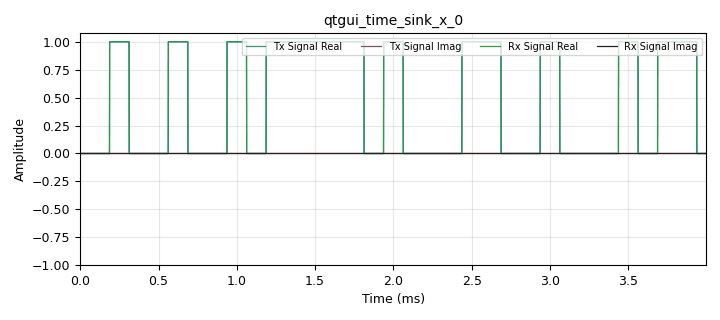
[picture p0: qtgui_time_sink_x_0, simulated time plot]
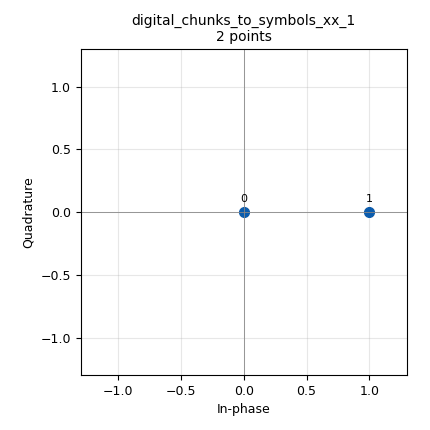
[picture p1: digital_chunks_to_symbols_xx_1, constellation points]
options:
  parameters:
    generate_options: qt_gui
    id: ece157a_mp2_0
    output_language: python
    title: ece157a_mp2
  states: {}

blocks:
- name: delay
  id: variable_qtgui_range
  parameters:
    orient: Qt.Horizontal
    start: '0'
    step: '1'
    stop: sps*32
    value: '0'
  states: {}
- name: freq_offset_tx_khz
  id: variable_qtgui_entry
  parameters:
    type: real
    value: '0'
  states: {}
- name: keep_m_in_n_offset
  id: variable_qtgui_range
  parameters:
    orient: Qt.Horizontal
    start: '0'
    step: '1'
    stop: sps
    value: '0'
  states: {}
- name: noise_amp
  id: variable_qtgui_entry
  parameters:
    type: real
    value: '0.0'
  states: {}
- name: phase
  id: variable_qtgui_entry
  parameters:
    type: real
    value: '0'
  states: {}
- name: reset_ber
  id: variable_qtgui_push_button
  parameters:
    label: RESET BER
    pressed: '1'
    released: '0'
    type: int
    value: '0'
  states: {state: disabled}
- name: rx_dig_gain
  id: variable_qtgui_entry
  parameters:
    type: real
    value: '1'
  states: {}
- name: samp_rate
  id: variable
  parameters:
    value: 32000*32
  states: {}
- name: sps
  id: variable
  parameters:
    value: '128'
  states: {}
- name: threshold_val
  id: variable_qtgui_entry
  parameters:
    type: real
    value: '0.5'
  states: {state: disabled}
- name: analog_noise_source_x_0
  id: analog_noise_source_x
  parameters:
    amp: noise_amp
    comment: AWGN
    noise_type: analog.GR_GAUSSIAN
    seed: '0'
    type: complex
  states: {}
- name: analog_random_source_x_0_0
  id: analog_random_source_x
  parameters:
    max: '2'
    min: '0'
    num_samps: '32'
    repeat: 'True'
    type: byte
  states: {}
- name: analog_sig_source_x_0
  id: analog_sig_source_x
  parameters:
    amp: '1'
    comment: Tx Frequency Offset
    freq: freq_offset_tx_khz*1000
    offset: '0'
    phase: '0'
    samp_rate: samp_rate
    type: complex
    waveform: analog.GR_COS_WAVE
  states: {}
- name: blocks_add_xx_0
  id: blocks_add_xx
  parameters:
    type: complex
  states: {}
- name: blocks_char_to_float_0
  id: blocks_char_to_float
  parameters:
    scale: '1'
  states: {state: disabled}
- name: blocks_complex_to_mag_squared_0
  id: blocks_complex_to_mag_squared
  parameters: {}
  states: {state: disabled}
- name: blocks_delay_0
  id: blocks_delay
  parameters:
    delay: delay
    type: complex
  states: {}
- name: blocks_float_to_char_0
  id: blocks_float_to_char
  parameters:
    scale: '1'
  states: {state: disabled}
- name: blocks_keep_m_in_n_0
  id: blocks_keep_m_in_n
  parameters:
    m: '1'
    n: sps
    offset: keep_m_in_n_offset
    type: float
  states: {state: disabled}
- name: blocks_moving_average_xx_0
  id: blocks_moving_average_xx
  parameters:
    length: sps
    max_iter: '4000'
    scale: 1/sps
    type: complex
  states: {state: disabled}
- name: blocks_multiply_const_vxx_0
  id: blocks_multiply_const_vxx
  parameters:
    const: '1'
    type: complex
  states: {}
- name: blocks_multiply_const_vxx_0_0
  id: blocks_multiply_const_vxx
  parameters:
    const: np.exp(1j*2*np.pi*phase/360)
    type: complex
  states: {}
- name: blocks_multiply_const_vxx_0_0_0
  id: blocks_multiply_const_vxx
  parameters:
    const: rx_dig_gain
    type: complex
  states: {}
- name: blocks_multiply_xx_0
  id: blocks_multiply_xx
  parameters:
    type: complex
  states: {}
- name: blocks_repeat_0
  id: blocks_repeat
  parameters:
    interp: sps
    type: complex
  states: {}
- name: blocks_threshold_ff_0
  id: blocks_threshold_ff
  parameters:
    high: threshold_val
    init: '0'
    low: threshold_val
  states: {state: disabled}
- name: blocks_throttle_0
  id: blocks_throttle
  parameters:
    samples_per_second: samp_rate
    type: complex
  states: {}
- name: digital_chunks_to_symbols_xx_1
  id: digital_chunks_to_symbols_xx
  parameters:
    dimension: '1'
    in_type: byte
    out_type: complex
    symbol_table: '[0,+1]'
  states: {}
- name: import_0
  id: import
  parameters:
    imports: import numpy as np
  states: {}
- name: qtgui_number_sink_0
  id: qtgui_number_sink
  parameters:
    graph_type: qtgui.NUM_GRAPH_NONE
    label1: BER
    min: '0'
    type: float
  states: {state: disabled}
- name: qtgui_number_sink_0_0
  id: qtgui_number_sink
  parameters:
    graph_type: qtgui.NUM_GRAPH_NONE
    label1: '"Number of Errors"'
    max: '1000000'
    min: '0'
    type: float
  states: {state: disabled}
- name: qtgui_time_sink_x_0
  id: qtgui_time_sink_x
  parameters:
    label1: Tx Signal Real
    label2: Tx Signal Imag
    label3: Rx Signal Real
    label4: Rx Signal Imag
    nconnections: '2'
    size: 32*sps
    srate: samp_rate
    type: complex
  states: {}
- name: qtgui_time_sink_x_0_0
  id: qtgui_time_sink_x
  parameters:
    label1: Tx Bits
    label2: Rx Bits
    nconnections: '2'
    size: '32'
    srate: '1'
    type: float
  states: {state: disabled}
- name: virtual_sink_0
  id: virtual_sink
  parameters:
    stream_id: fsk_tx_out
  states: {}
- name: virtual_sink_0_0
  id: virtual_sink
  parameters:
    stream_id: fsk_rx_in
  states: {}
- name: virtual_sink_0_1
  id: virtual_sink
  parameters:
    stream_id: bits_tx_float
  states: {state: disabled}
- name: virtual_sink_0_1_0
  id: virtual_sink
  parameters:
    stream_id: bits_rx
  states: {state: disabled}
- name: virtual_sink_0_1_1
  id: virtual_sink
  parameters:
    stream_id: bits_tx_char
  states: {state: disabled}
- name: virtual_source_0
  id: virtual_source
  parameters:
    stream_id: fsk_tx_out
  states: {}
- name: virtual_source_0_0
  id: virtual_source
  parameters:
    stream_id: fsk_rx_in
  states: {state: disabled}
- name: virtual_source_0_1
  id: virtual_source
  parameters:
    stream_id: fsk_tx_out
  states: {}
- name: virtual_source_0_2
  id: virtual_source
  parameters:
    stream_id: bits_tx_float
  states: {state: disabled}
- name: virtual_source_1
  id: virtual_source
  parameters:
    stream_id: fsk_rx_in
  states: {}
- name: virtual_source_2
  id: virtual_source
  parameters:
    stream_id: bits_rx
  states: {state: disabled}
- name: virtual_source_2_0
  id: virtual_source
  parameters:
    stream_id: bits_tx_char
  states: {state: disabled}
- name: wes_ber_0
  id: wes_ber
  parameters:
    bits_per_byte: '1'
    reset_ber: reset_ber
  states: {state: disabled}

connections:
- [analog_noise_source_x_0, '0', blocks_add_xx_0, '1']
- [analog_random_source_x_0_0, '0', blocks_char_to_float_0, '0']
- [analog_random_source_x_0_0, '0', digital_chunks_to_symbols_xx_1, '0']
- [analog_random_source_x_0_0, '0', virtual_sink_0_1_1, '0']
- [analog_sig_source_x_0, '0', blocks_multiply_xx_0, '1']
- [blocks_add_xx_0, '0', virtual_sink_0_0, '0']
- [blocks_char_to_float_0, '0', virtual_sink_0_1, '0']
- [blocks_complex_to_mag_squared_0, '0', blocks_keep_m_in_n_0, '0']
- [blocks_delay_0, '0', blocks_add_xx_0, '0']
- [blocks_float_to_char_0, '0', virtual_sink_0_1_0, '0']
- [blocks_keep_m_in_n_0, '0', blocks_threshold_ff_0, '0']
- [blocks_moving_average_xx_0, '0', blocks_complex_to_mag_squared_0, '0']
- [blocks_multiply_const_vxx_0, '0', blocks_throttle_0, '0']
- [blocks_multiply_const_vxx_0_0, '0', blocks_multiply_const_vxx_0_0_0, '0']
- [blocks_multiply_const_vxx_0_0_0, '0', blocks_delay_0, '0']
- [blocks_multiply_xx_0, '0', blocks_multiply_const_vxx_0, '0']
- [blocks_repeat_0, '0', blocks_multiply_xx_0, '0']
- [blocks_threshold_ff_0, '0', blocks_float_to_char_0, '0']
- [blocks_threshold_ff_0, '0', qtgui_time_sink_x_0_0, '1']
- [blocks_throttle_0, '0', virtual_sink_0, '0']
- [digital_chunks_to_symbols_xx_1, '0', blocks_repeat_0, '0']
- [virtual_source_0, '0', blocks_multiply_const_vxx_0_0, '0']
- [virtual_source_0_0, '0', blocks_moving_average_xx_0, '0']
- [virtual_source_0_1, '0', qtgui_time_sink_x_0, '0']
- [virtual_source_0_2, '0', qtgui_time_sink_x_0_0, '0']
- [virtual_source_1, '0', qtgui_time_sink_x_0, '1']
- [virtual_source_2, '0', wes_ber_0, '0']
- [virtual_source_2_0, '0', wes_ber_0, '1']
- [wes_ber_0, '0', qtgui_number_sink_0, '0']
- [wes_ber_0, '1', qtgui_number_sink_0_0, '0']

metadata:
  file_format: 1
